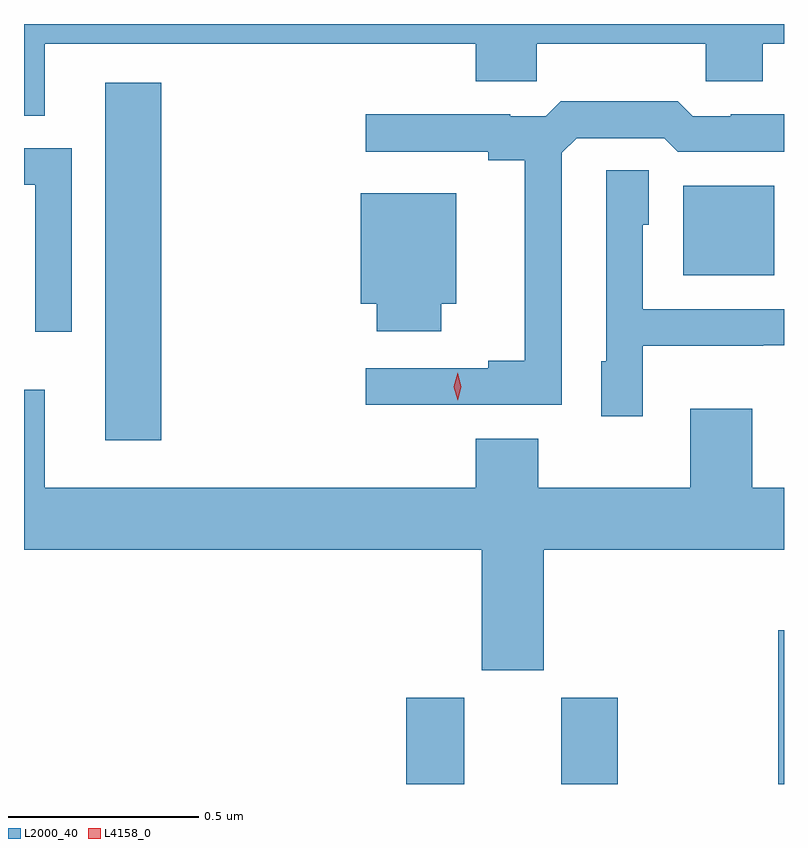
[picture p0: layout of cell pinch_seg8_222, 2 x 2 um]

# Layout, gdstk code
import gdstk
lib = gdstk.Library(unit=1e-6, precision=1e-09)
def R(c, l, rs):  # rectangles x0, y0, x1, y1
    for r in rs: c.add(gdstk.rectangle(r[:2], r[2:], *l))
def P(c, l, *ps):  # polygons
    for p in ps: c.add(gdstk.Polygon(p, *l))
L2000_40 = (2000, 40)
L4158_0 = (4158, 0)

pinch_seg8_222 = lib.new_cell('pinch_seg8_222')
R(pinch_seg8_222, L2000_40, [(660.536,1119.88,660.688,1120.107), (660.944,1119.88,661.092,1120.107), (661.515,1119.88,661.53,1120.285), (659.744,1120.785,659.891,1121.725), (661.265,1121.219,661.504,1121.455)])
P(pinch_seg8_222, L2000_40, [(659.584,1121.828),(660.719,1121.828),(660.719,1121.73),(660.879,1121.73),(660.879,1121.828),(661.324,1121.828),(661.324,1121.73),(661.474,1121.73),(661.474,1121.828),(661.53,1121.828),(661.53,1121.88),(659.53,1121.88),(659.53,1121.638),(659.584,1121.638)],
  [(660.945,1121.541),(660.984,1121.58),(661.215,1121.58),(661.251,1121.544),(661.53,1121.544),(661.53,1121.642),(661.39,1121.642),(661.39,1121.637),(661.29,1121.637),(661.251,1121.677),(660.943,1121.677),(660.903,1121.637),(660.809,1121.637),(660.809,1121.642),(660.429,1121.642),(660.429,1121.544),(660.752,1121.544),(660.752,1121.522),(660.848,1121.522),(660.848,1120.994),(660.752,1120.994),(660.752,1120.974),(660.429,1120.974),(660.429,1120.878),(660.945,1120.878)],
  [(659.655,1121.553),(659.53,1121.553),(659.53,1121.457),(659.559,1121.457),(659.559,1121.07),(659.655,1121.07)],
  [(661.158,1121.033),(661.475,1121.033),(661.475,1121.034),(661.53,1121.034),(661.53,1121.13),(661.158,1121.13),(661.158,1121.352),(661.174,1121.352),(661.174,1121.495),(661.062,1121.495),(661.062,1120.992),(661.049,1120.992),(661.049,1120.848),(661.158,1120.848)],
  [(660.628,1121.144),(660.667,1121.144),(660.667,1121.434),(660.416,1121.434),(660.416,1121.144),(660.458,1121.144),(660.458,1121.072),(660.628,1121.072)],
  [(660.898,1120.496),(661.53,1120.496),(661.53,1120.66),(661.447,1120.66),(661.447,1120.867),(661.283,1120.867),(661.283,1120.66),(660.883,1120.66),(660.883,1120.789),(660.719,1120.789),(660.719,1120.66),(659.584,1120.66),(659.584,1120.918),(659.53,1120.918),(659.53,1120.496),(660.734,1120.496),(660.734,1120.179),(660.898,1120.179)])
P(pinch_seg8_222, L4158_0, [(660.671,1120.89),(660.671,1120.89),(660.661,1120.926),(660.672,1120.962),(660.672,1120.962),(660.672,1120.962),(660.681,1120.926),(660.671,1120.89)])

lib.write_gds('pinch_seg8_222.gds')
